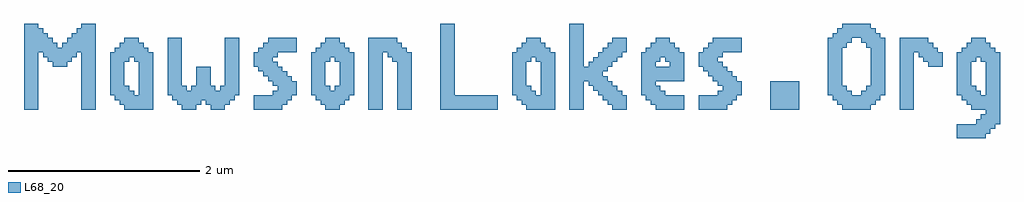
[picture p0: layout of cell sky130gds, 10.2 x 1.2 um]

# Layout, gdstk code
import gdstk
lib = gdstk.Library(unit=1e-6, precision=1e-09)
def R(c, l, rs):  # rectangles x0, y0, x1, y1
    for r in rs: c.add(gdstk.rectangle(r[:2], r[2:], *l))
def A(c, l, x, y, w, h, nx, ny, dx, dy):  # array of equal rectangles
    R(c, l, [(x+i*dx, y+j*dy, x+i*dx+w, y+j*dy+h) for i in range(nx) for j in range(ny)])
L68_20 = (68, 20)

sky130gds = lib.new_cell('sky130gds')
A(sky130gds, L68_20, 0.9, 0.55, 0.45, 0.05, 3, 1, 2.1, 0)
A(sky130gds, L68_20, 0.95, 0.6, 0.35, 0.05, 3, 1, 2.1, 0)
A(sky130gds, L68_20, 1, 0.65, 0.25, 0.05, 3, 1, 2.1, 0)
A(sky130gds, L68_20, 1.05, 0.7, 0.15, 0.05, 3, 1, 2.1, 0)
R(sky130gds, L68_20, [(9.75,-0.3,10.05,-0.25), (9.75,-0.25,10.1,-0.2), (9.75,-0.2,10.15,-0.15), (9.95,-0.15,10.2,-0.1), (10,-0.1,10.2,-0.05), (10.05,-0.05,10.2,0), (0,0,0.15,0.6), (0.6,0,0.75,0.6), (1.05,0,1.35,0.05), (1.65,0,1.8,0.05), (1.95,0,2.1,0.05), (2.4,0,2.7,0.05), (3.15,0,3.3,0.05), (3.6,0,3.75,0.6), (3.9,0,4.05,0.5), (4.35,0,4.95,0.15), (5.25,0,5.55,0.05), (5.7,0,5.85,0.3), (6.15,0,6.3,0.05), (6.6,0,6.9,0.05), (7.05,0,7.35,0.05), (7.8,0,8.1,0.3), (8.55,0,8.85,0.05), (9.15,0,9.3,0.6), (9.9,0,10.2,0.05), (1,0.05,1.35,0.1), (1.6,0.05,1.85,0.1), (1.9,0.05,2.15,0.1), (2.4,0.05,2.75,0.1), (3.1,0.05,3.35,0.1), (5.2,0.05,5.55,0.1), (6.1,0.05,6.3,0.1), (6.55,0.05,6.9,0.1), (7.05,0.05,7.4,0.1), (8.5,0.05,8.9,0.1), (9.85,0.05,10.2,0.1), (0.95,0.1,1.35,0.15), (1.55,0.1,2.2,0.15), (2.4,0.1,2.8,0.15), (3.05,0.1,3.4,0.15), (5.15,0.1,5.55,0.15), (6.05,0.1,6.3,0.15), (6.5,0.1,6.9,0.15), (7.05,0.1,7.45,0.15), (8.45,0.1,8.95,0.15), (9.8,0.1,10.2,0.15), (0.9,0.15,1.15,0.2), (1.2,0.15,1.35,0.5), (1.5,0.15,2.25,0.2), (2.6,0.15,2.85,0.2), (3,0.15,3.45,0.2), (4.35,0.15,4.5,0.9), (5.1,0.15,5.35,0.2), (5.4,0.15,5.55,0.5), (6,0.15,6.25,0.2), (6.45,0.15,6.7,0.2), (7.25,0.15,7.5,0.2), (8.4,0.15,8.65,0.2), (8.75,0.15,9,0.2), (9.75,0.15,10,0.2), (10.05,0.15,10.2,0.5), (0.9,0.2,1.1,0.25), (1.5,0.2,1.7,0.25), (1.75,0.2,2,0.25), (2.05,0.2,2.25,0.25), (2.65,0.2,2.85,0.25), (3,0.2,3.2,0.25), (3.25,0.2,3.45,0.25), (5.1,0.2,5.3,0.25), (5.95,0.2,6.2,0.25), (6.45,0.2,6.65,0.25), (7.3,0.2,7.5,0.25), (8.4,0.2,8.6,0.25), (8.8,0.2,9,0.25), (9.75,0.2,9.95,0.25), (0.9,0.25,1.05,0.5), (1.5,0.25,1.65,0.75), (1.8,0.25,1.95,0.45), (2.1,0.25,2.25,0.75), (2.6,0.25,2.85,0.3), (3,0.25,3.15,0.5), (3.3,0.25,3.45,0.5), (5.1,0.25,5.25,0.5), (5.9,0.25,6.15,0.3), (6.45,0.25,6.6,0.3), (7.25,0.25,7.5,0.3), (8.4,0.25,8.55,0.65), (8.85,0.25,9,0.65), (9.75,0.25,9.9,0.5), (2.55,0.3,2.8,0.35), (5.7,0.3,6.1,0.35), (6.45,0.3,6.9,0.45), (7.2,0.3,7.45,0.35), (2.5,0.35,2.75,0.4), (5.7,0.35,6.05,0.4), (7.15,0.35,7.4,0.4), (2.45,0.4,2.7,0.45), (5.7,0.4,6.1,0.45), (7.1,0.4,7.35,0.45), (0.3,0.45,0.45,0.5), (2.4,0.45,2.65,0.5), (5.7,0.45,5.85,0.9), (5.9,0.45,6.15,0.5), (6.45,0.45,6.6,0.5), (6.75,0.45,6.9,0.5), (7.05,0.45,7.3,0.5), (9.45,0.45,9.6,0.5), (0.25,0.5,0.5,0.55), (0.9,0.5,1.1,0.55), (1.15,0.5,1.35,0.55), (2.4,0.5,2.6,0.55), (3,0.5,3.2,0.55), (3.25,0.5,3.45,0.55), (3.85,0.5,4.05,0.55), (5.1,0.5,5.3,0.55), (5.35,0.5,5.55,0.55), (5.95,0.5,6.2,0.55), (6.45,0.5,6.65,0.55), (6.7,0.5,6.9,0.55), (7.05,0.5,7.25,0.55), (9.4,0.5,9.6,0.55), (9.75,0.5,9.95,0.55), (10,0.5,10.2,0.55), (0.2,0.55,0.55,0.6), (2.4,0.55,2.65,0.6), (3.8,0.55,4.05,0.6), (6,0.55,6.25,0.6), (6.45,0.55,6.9,0.6), (7.05,0.55,7.3,0.6), (9.35,0.55,9.6,0.6), (9.75,0.55,10.2,0.6), (0,0.6,0.75,0.65), (2.45,0.6,2.85,0.65), (3.6,0.6,4,0.65), (6.05,0.6,6.3,0.65), (6.5,0.6,6.85,0.65), (7.1,0.6,7.5,0.65), (9.15,0.6,9.55,0.65), (9.8,0.6,10.15,0.65), (0,0.65,0.35,0.7), (0.4,0.65,0.75,0.7), (2.5,0.65,2.85,0.7), (3.6,0.65,3.95,0.7), (6.1,0.65,6.3,0.7), (6.55,0.65,6.8,0.7), (7.15,0.65,7.5,0.7), (8.4,0.65,8.6,0.7), (8.8,0.65,9,0.7), (9.15,0.65,9.5,0.7), (9.85,0.65,10.1,0.7), (0,0.7,0.3,0.75), (0.45,0.7,0.75,0.75), (2.55,0.7,2.85,0.75), (3.6,0.7,3.9,0.75), (6.15,0.7,6.3,0.75), (6.6,0.7,6.75,0.75), (7.2,0.7,7.5,0.75), (8.4,0.7,8.65,0.75), (8.75,0.7,9,0.75), (9.15,0.7,9.45,0.75), (9.9,0.7,10.05,0.75), (0,0.75,0.25,0.8), (0.5,0.75,0.75,0.8), (8.45,0.75,8.95,0.8), (0,0.8,0.2,0.85), (0.55,0.8,0.75,0.85), (8.5,0.8,8.9,0.85), (0,0.85,0.15,0.9), (0.6,0.85,0.75,0.9), (8.55,0.85,8.85,0.9)])

lib.write_gds('sky130gds.gds')
